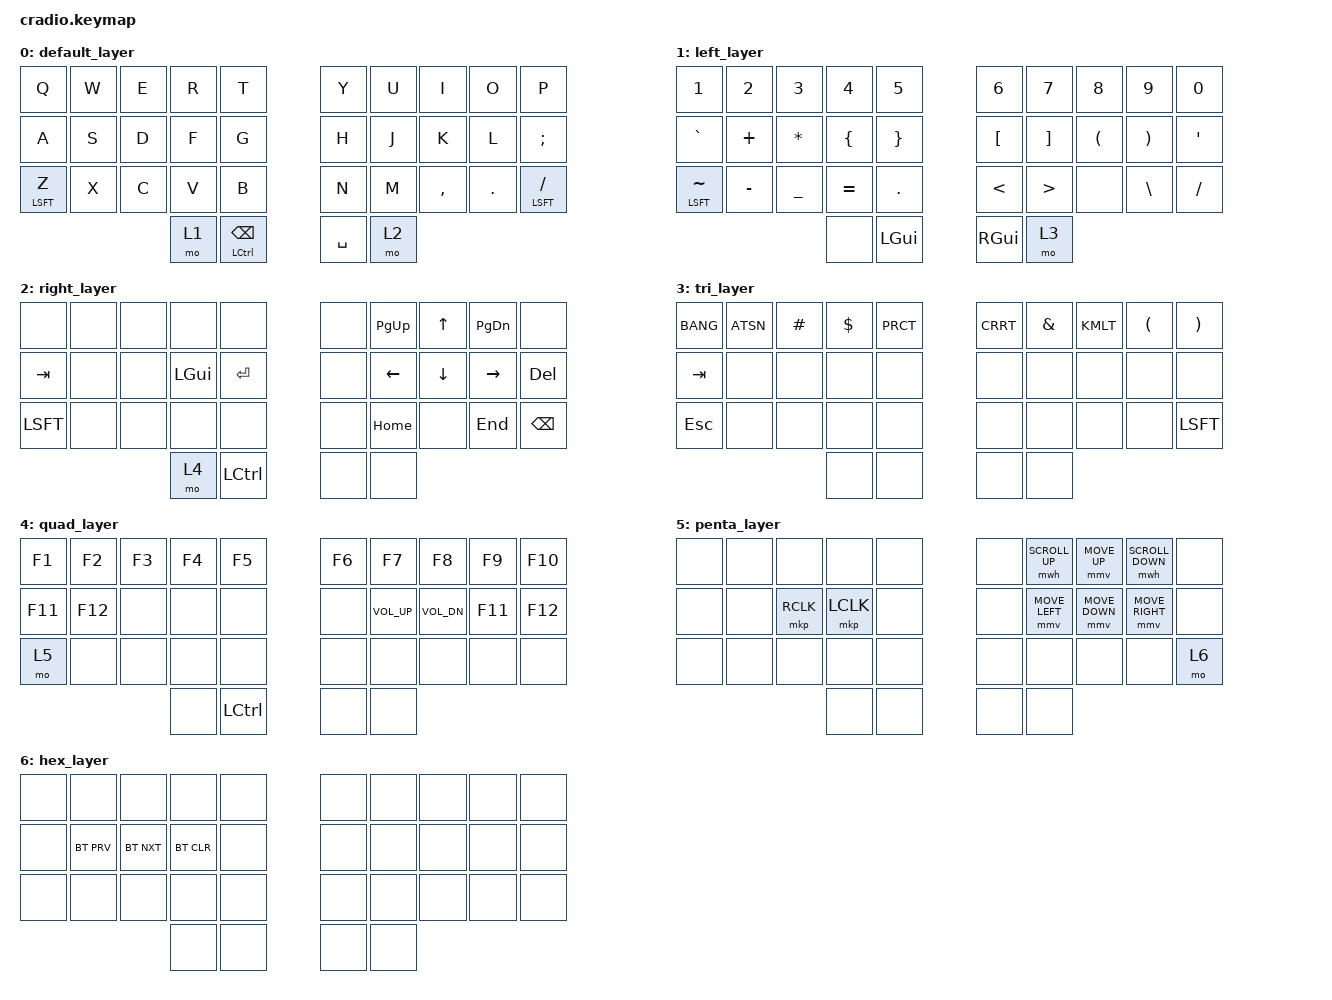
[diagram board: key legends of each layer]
/*
 * Copyright (c) 2020 The ZMK Contributors
 *
 * SPDX-License-Identifier: MIT
 */

#include <behaviors.dtsi>
#include <dt-bindings/zmk/keys.h>
#include <dt-bindings/zmk/bt.h>
#include <dt-bindings/zmk/mouse.h>


&mt {
  //  flavor = "tap-preferred";
   // tapping_term_ms = <200>;
};

/ { 

    combos {
        compatible = "zmk,combos";
        combo_esc {
            timeout-ms = <50>;
            key-positions = <0 1>;
            bindings = <&kp ESC>;
        };
        
         combo_tab {
            timeout-ms = <50>;
            key-positions = <10 11>;
            bindings = <&kp TAB>;
        };
        
            combo_ralt {
            timeout-ms = <50>;
            key-positions = <17 16>;
            bindings = <&kp RALT>;
        };
        
                    combo_lalt {
            timeout-ms = <50>;
            key-positions = <11 12>;
            bindings = <&kp LALT>;
        };
        
                           combo_lgui {
            timeout-ms = <50>;
            key-positions = <12 13>;
            bindings = <&kp LGUI>;
        };
        
        
           combo_rgui {
            timeout-ms = <50>;
            key-positions = <17 18>;
            bindings = <&kp RGUI>;
        };
        

        
    };

        keymap {
                compatible = "zmk,keymap";
                
       		default_layer {
		bindings = <
		&kp Q       &kp W  &kp E  &kp R  &kp T 						&kp Y    &kp U  &kp I    &kp O    &kp P 
		&kp A       &kp S  &kp D  &kp F  &kp G 			        	&kp H    &kp J  &kp K    &kp L    &kp SEMI
		&mt LSFT Z  &kp X  &kp C  &kp V  &kp B				        &kp N    &kp M  &kp CMMA &kp DOT  &mt LSFT FSLH
          				          &mo 1  &mt LCTL BKSP		        &kp SPC  &mo 2
		>;
		};

       		left_layer {
		bindings = <
		&kp NUM_1       &kp NUM_2  &kp NUM_3  &kp NUM_4  &kp NUM_5	       &kp NUM_6  &kp NUM_7  &kp NUM_8  &kp NUM_9  &kp NUM_0 
		&kp GRAVE       &kp PLUS   &kp ASTRK  &kp LBRC   &kp RBRC 		   &kp LBKT   &kp RBKT   &kp LPAR   &kp RPAR   &kp APOS 
		&mt LSFT TILDE  &kp MINUS  &kp UNDER  &kp EQL    &kp DOT 	       &kp LT     &kp GT     &none      &kp BSLH   &kp FSLH 
					                          &none      &kp LGUI  		   &kp RGUI   &mo 3 
		>;
		};
		
		right_layer {
		bindings = <
		&none     &none     &none     &none     &none    			    &none  &kp PG_UP  &kp UP    &kp PG_DN  &none  
		&kp TAB   &none     &none     &kp LGUI  &kp RET 			    &none  &kp LEFT   &kp DOWN  &kp RIGHT  &kp DEL
		&kp LSFT  &none     &none     &none     &none    			    &none  &kp HOME   &none     &kp END    &kp BKSP
					                  &mo 4     &kp LCTL  				&none  &none 					
		>;
		};	
		
		tri_layer {
		bindings = <
		&kp BANG  &kp ATSN  &kp HASH  &kp DLLR  &kp PRCT    			&kp CRRT  &kp AMPS  &kp KMLT  &kp LPRN  &kp RPRN 
		&kp TAB   &none     &none     &none     &none 					&none	  &none     &none     &none     &none
		&kp ESC   &none     &none     &none     &none   				&none     &none     &none     &none     &kp LSFT    
					                  &none     &none  				    &none     &none 
		>;
		};	

        quad_layer {
		bindings = <
		&kp F1      &kp F2       &kp F3       &kp F4    &kp F5 			   &kp F6  &kp F7        &kp F8        &kp F9      &kp F10
		&kp F11     &kp F12      &none        &none     &none 			   &none   &kp C_VOL_UP  &kp C_VOL_DN  &kp F11     &kp F12 
		&mo 5       &none        &none        &none     &none              &none   &none         &none         &none       &none
					                          &none     &kp LCTL   		   &none   &none
		>;
		};	

		penta_layer {
		bindings = <
		&none  &none   &none       &none       &none 			   &none  &mwh SCROLL_UP  &mmv MOVE_UP    &mwh SCROLL_DOWN  &none
		&none  &none   &mkp RCLK   &mkp LCLK   &none  		       &none  &mmv MOVE_LEFT  &mmv MOVE_DOWN  &mmv MOVE_RIGHT   &none 
		&none  &none   &none       &none       &none    		   &none  &none           &none           &none             &mo 6 
					               &none       &none   		       &none  &none
		>;
		};	

		hex_layer {
		bindings = <
		&none  &none       &none       &none       &none 			   &none	  &none     &none     &none     &none
		&none  &bt BT_PRV  &bt BT_NXT  &bt BT_CLR  &none  		       &none	  &none     &none     &none     &none
		&none  &none       &none        &none       &none    		   &none	  &none     &none     &none     &none   
					                   &none       &none   		       &none      &none
		>;
		};	
	};
};
Footer
